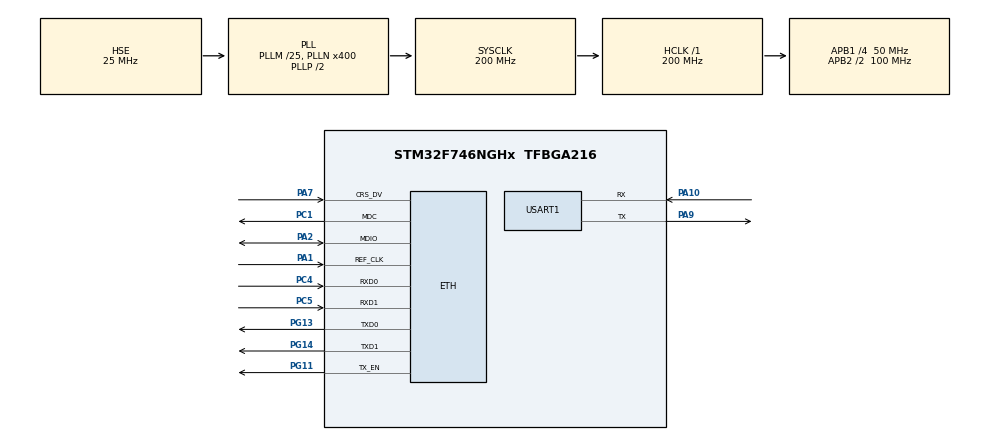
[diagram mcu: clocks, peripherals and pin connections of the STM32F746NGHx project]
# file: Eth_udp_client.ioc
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ETH.MediaInterface=HAL_ETH_RMII_MODE
LWIP.BSP.number=1
LWIP.GATEWAY_ADDRESS=010.004.090.001
LWIP.IP_ADDRESS=010.004.090.100
LWIP.LWIP_DHCP=0
LWIP.NETMASK_ADDRESS=255.255.255.000
LWIP.Version=v2.1.2_Cube
LWIP0.BSP.STBoard=false
LWIP0.BSP.api=BSP_COMPONENT_DRIVER
LWIP0.BSP.component=LAN8742
LWIP0.BSP.instance=LAN8742
LWIP0.BSP.name=Driver_PHY
LWIP0.BSP.semaphore=S_LAN8742
LWIP0.BSP.solution=LAN8742
Mcu.Family=STM32F7
Mcu.Name=STM32F746NGHx
Mcu.Package=TFBGA216
NVIC.ETH_IRQn=true\:0\:0\:false\:false\:true\:true\:true\:true
NVIC.PriorityGroup=NVIC_PRIORITYGROUP_4
PA1.Mode=RMII
PA1.Signal=ETH_REF_CLK
PA10.Mode=Asynchronous
PA10.Signal=USART1_RX
PA2.Mode=RMII
PA2.Signal=ETH_MDIO
PA7.Mode=RMII
PA7.Signal=ETH_CRS_DV
PA9.Mode=Asynchronous
PA9.Signal=USART1_TX
PC1.Mode=RMII
PC1.Signal=ETH_MDC
PC4.Mode=RMII
PC4.Signal=ETH_RXD0
PC5.Mode=RMII
PC5.Signal=ETH_RXD1
PG11.Mode=RMII
PG11.Signal=ETH_TX_EN
PG13.Mode=RMII
PG13.Signal=ETH_TXD0
PG14.Mode=RMII
PG14.Signal=ETH_TXD1
PH0/OSC_IN.Mode=HSE-External-Oscillator
PH0/OSC_IN.Signal=RCC_OSC_IN
PH1/OSC_OUT.Mode=HSE-External-Oscillator
PH1/OSC_OUT.Signal=RCC_OSC_OUT
ProjectManager.HeapSize=0x200
ProjectManager.StackSize=0x400
ProjectManager.TargetToolchain=STM32CubeIDE
RCC.AHBFreq_Value=200000000
RCC.APB1CLKDivider=RCC_HCLK_DIV4
RCC.APB1Freq_Value=50000000
RCC.APB1TimFreq_Value=100000000
RCC.APB2CLKDivider=RCC_HCLK_DIV2
RCC.APB2Freq_Value=100000000
RCC.APB2TimFreq_Value=200000000
RCC.CortexFreq_Value=200000000
RCC.HCLKFreq_Value=200000000
RCC.HSE_VALUE=25000000
RCC.HSI_VALUE=16000000
RCC.PLL48CLockSelection=RCC_CLK48SOURCE_PLLSAIP
RCC.PLLI2SN=100
RCC.PLLM=25
RCC.PLLN=400
RCC.PLLQ=9
RCC.PLLSAIN=384
RCC.PLLSAIP=RCC_PLLSAIP_DIV8
RCC.PLLSAIR=5
RCC.PLLSAIRDiv=RCC_PLLSAIDIVR_8
RCC.PLLSourceVirtual=RCC_PLLSOURCE_HSE
RCC.SDMMCClockSelection=RCC_SDMMC1CLKSOURCE_CLK48
RCC.SYSCLKFreq_VALUE=200000000
RCC.SYSCLKSource=RCC_SYSCLKSOURCE_PLLCLK
RCC.USBFreq_Value=48000000
RCC.VCOOutputFreq_Value=400000000
USART1.VirtualMode-Asynchronous=VM_ASYNC
VP_LWIP_VS_Enabled.Mode=Enabled
board=STM32F746G-DISCO

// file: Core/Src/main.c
/* USER CODE BEGIN Header */
/**
  ******************************************************************************
  * @file           : main.c
  * @brief          : Main program body
  ******************************************************************************
  * @attention
  *
  * Copyright (c) 2026 STMicroelectronics.
  * All rights reserved.
  *
  * This software is licensed under terms that can be found in the LICENSE file
  * in the root directory of this software component.
  * If no LICENSE file comes with this software, it is provided AS-IS.
  *
  ******************************************************************************
  */
/* USER CODE END Header */
#include "main.h"
#include "lwip.h"

/* USER CODE BEGIN Includes */
/*Use Python script to make pc as server*/
/*
Understanding Client vs Server Roles
🔵 UDP SERVER (udp_server.c)
Who does what:

STM32: Acts as SERVER (waits for commands)
PC/Packet Sender: Acts as CLIENT (sends commands)

Communication flow:
1. PC sends command "UDP00" → STM32 (server listening on port 1100)
2. STM32 receives and processes command
3. STM32 sends response "UDP00 + Hello World" → PC
4. PC receives response
When to use:

✅ PC needs to control STM32 (send commands)
✅ STM32 should always be reachable at a fixed port
✅ Multiple PCs might need to connect to STM32
✅ Example: Control panel, configuration tool, command interface

Packet Sender usage: ✅ WORKS PERFECTLY

Packet Sender = Client (sends commands)
STM32 = Server (receives and responds)

🔴 UDP CLIENT (udp_client.c)
Who does what:

STM32: Acts as CLIENT (initiates communication)
PC: Acts as SERVER (waits for data)

Communication flow:
1. STM32 sends data "Hello World" → PC (server listening on port 12)
2. PC receives data
3. PC sends response "Server received: Hello World" → STM32
4. STM32 receives response
When to use:

✅ STM32 needs to push data to PC (telemetry, logging)
✅ STM32 initiates communication
✅ PC should receive data periodically
✅ Example: Sensor data logger, telemetry system

Packet Sender usage: ❌ DOESN'T WORK

Packet Sender = Client tool (sends packets, not a server)
STM32 = Also client (sends packets)
Problem: Both are clients, nobody is server!
Solution: Use Python UDP server script on PC

Scenario 1: STM32 as UDP SERVER
┌─────────────────┐         ┌─────────────────┐
│   PC (Client)   │         │ STM32 (Server)  │
│  Packet Sender  │         │  udp_server.c   │
│  10.4.90.58     │         │  10.4.90.100    │
│                 │         │  Port: 1100     │
└─────────────────┘         └─────────────────┘
         │                           │
         │  1. Send "UDP00"          │
         │──────────────────────────>│
         │                           │
         │         2. Receive        │
         │         3. Process        │
         │                           │
         │  4. Send "UDP00 + Hello"  │
         │<──────────────────────────│
         │  5. Receive response      │

Scenario 2: STM32 as UDP CLIENT
┌─────────────────┐         ┌─────────────────┐
│   PC (Server)   │         │ STM32 (Client)  │
│  Python Script  │         │  udp_client.c   │
│  10.4.90.58     │         │  10.4.90.100    │
│  Port: 12       │         │  Port: 1100     │
└─────────────────┘         └─────────────────┘
         │                           │
         │  1. Send "Hello World"    │
         │<──────────────────────────│
         │  2. Receive               │
         │                           │
         │  3. Send response         │
         │──────────────────────────>│
         │         4. Receive        │

CLIENT = sends first (initiator)
SERVER = receives first (waiter)
 */
/* USER CODE END Includes */

UART_HandleTypeDef huart1;

void SystemClock_Config(void);
static void MX_GPIO_Init(void);
static void MX_USART1_UART_Init(void);
/* USER CODE BEGIN PFP */
void udpClient_connect(void);
extern struct netif gnetif;
/* USER CODE END PFP */

/* USER CODE BEGIN 0 */
int _write(int file, char *ptr, int len)
{
    HAL_UART_Transmit(&huart1, (uint8_t *)ptr, len, HAL_MAX_DELAY);
    return len;
}
/* USER CODE END 0 */

int main(void)
{

  /* MCU Configuration--------------------------------------------------------*/

  /* Reset of all peripherals, Initializes the Flash interface and the Systick. */
  HAL_Init();

  /* Configure the system clock */
  SystemClock_Config();

  /* Initialize all configured peripherals */
  MX_GPIO_Init();
  MX_USART1_UART_Init();
  MX_LWIP_Init();
  /* USER CODE BEGIN 2 */
  printf("Waiting for Ethernet link...\r\n");

  // Give the link some time to stabilize
  uint32_t link_timeout = HAL_GetTick() + 3000; // 3 second timeout
  while (HAL_GetTick() < link_timeout)
  {
      ethernetif_input(&gnetif);
      ethernet_link_check_state(&gnetif);

      if (netif_is_link_up(&gnetif))
      {
          printf("Ethernet link is UP\r\n");
          break;
      }
      HAL_Delay(100);
  }

  if (netif_is_link_up(&gnetif))
  {
      printf("Network initialized\r\n");
      printf("IP: %s\r\n", ip4addr_ntoa(netif_ip4_addr(&gnetif)));

      // Initialize UDP client only once
      udpClient_connect();
  }
  else
  {
      printf("ERROR: Ethernet link failed to come up\r\n");
  }
  /* USER CODE END 2 */

  /* Infinite loop */
  while (1)
  {

    /* USER CODE BEGIN 3 */
	  ethernetif_input(&gnetif);
	  sys_check_timeouts();
	  static uint32_t link_timer = 0;
	  	  if (HAL_GetTick() - link_timer >= 100)
	  	  {
	  	      link_timer = HAL_GetTick();
	  	      ethernet_link_check_state(&gnetif);
	  	  }
  }
  /* USER CODE END 3 */
}

void SystemClock_Config(void)
{
  RCC_OscInitTypeDef RCC_OscInitStruct = {0};
  RCC_ClkInitTypeDef RCC_ClkInitStruct = {0};

  /** Configure the main internal regulator output voltage
  */
  __HAL_RCC_PWR_CLK_ENABLE();
  __HAL_PWR_VOLTAGESCALING_CONFIG(PWR_REGULATOR_VOLTAGE_SCALE1);

  /** Initializes the RCC Oscillators according to the specified parameters
  * in the RCC_OscInitTypeDef structure.
  */
  RCC_OscInitStruct.OscillatorType = RCC_OSCILLATORTYPE_HSE;
  RCC_OscInitStruct.HSEState = RCC_HSE_ON;
  RCC_OscInitStruct.PLL.PLLState = RCC_PLL_ON;
  RCC_OscInitStruct.PLL.PLLSource = RCC_PLLSOURCE_HSE;
  RCC_OscInitStruct.PLL.PLLM = 25;
  RCC_OscInitStruct.PLL.PLLN = 400;
  RCC_OscInitStruct.PLL.PLLP = RCC_PLLP_DIV2;
  RCC_OscInitStruct.PLL.PLLQ = 9;
  if (HAL_RCC_OscConfig(&RCC_OscInitStruct) != HAL_OK)
  {
    Error_Handler();
  }

  /** Activate the Over-Drive mode
  */
  if (HAL_PWREx_EnableOverDrive() != HAL_OK)
  {
    Error_Handler();
  }

  /** Initializes the CPU, AHB and APB buses clocks
  */
  RCC_ClkInitStruct.ClockType = RCC_CLOCKTYPE_HCLK|RCC_CLOCKTYPE_SYSCLK
                              |RCC_CLOCKTYPE_PCLK1|RCC_CLOCKTYPE_PCLK2;
  RCC_ClkInitStruct.SYSCLKSource = RCC_SYSCLKSOURCE_PLLCLK;
  RCC_ClkInitStruct.AHBCLKDivider = RCC_SYSCLK_DIV1;
  RCC_ClkInitStruct.APB1CLKDivider = RCC_HCLK_DIV4;
  RCC_ClkInitStruct.APB2CLKDivider = RCC_HCLK_DIV2;

  if (HAL_RCC_ClockConfig(&RCC_ClkInitStruct, FLASH_LATENCY_6) != HAL_OK)
  {
    Error_Handler();
  }
}

static void MX_USART1_UART_Init(void)
{

  huart1.Instance = USART1;
  huart1.Init.BaudRate = 115200;
  huart1.Init.WordLength = UART_WORDLENGTH_8B;
  huart1.Init.StopBits = UART_STOPBITS_1;
  huart1.Init.Parity = UART_PARITY_NONE;
  huart1.Init.Mode = UART_MODE_TX_RX;
  huart1.Init.HwFlowCtl = UART_HWCONTROL_NONE;
  huart1.Init.OverSampling = UART_OVERSAMPLING_16;
  huart1.Init.OneBitSampling = UART_ONE_BIT_SAMPLE_DISABLE;
  huart1.AdvancedInit.AdvFeatureInit = UART_ADVFEATURE_NO_INIT;
  if (HAL_UART_Init(&huart1) != HAL_OK)
  {
    Error_Handler();
  }

}

static void MX_GPIO_Init(void)
{

  /* GPIO Ports Clock Enable */
  __HAL_RCC_GPIOG_CLK_ENABLE();
  __HAL_RCC_GPIOA_CLK_ENABLE();
  __HAL_RCC_GPIOH_CLK_ENABLE();
  __HAL_RCC_GPIOC_CLK_ENABLE();

}

void Error_Handler(void)
{
  __disable_irq();
  while (1)
  {
  }
}
